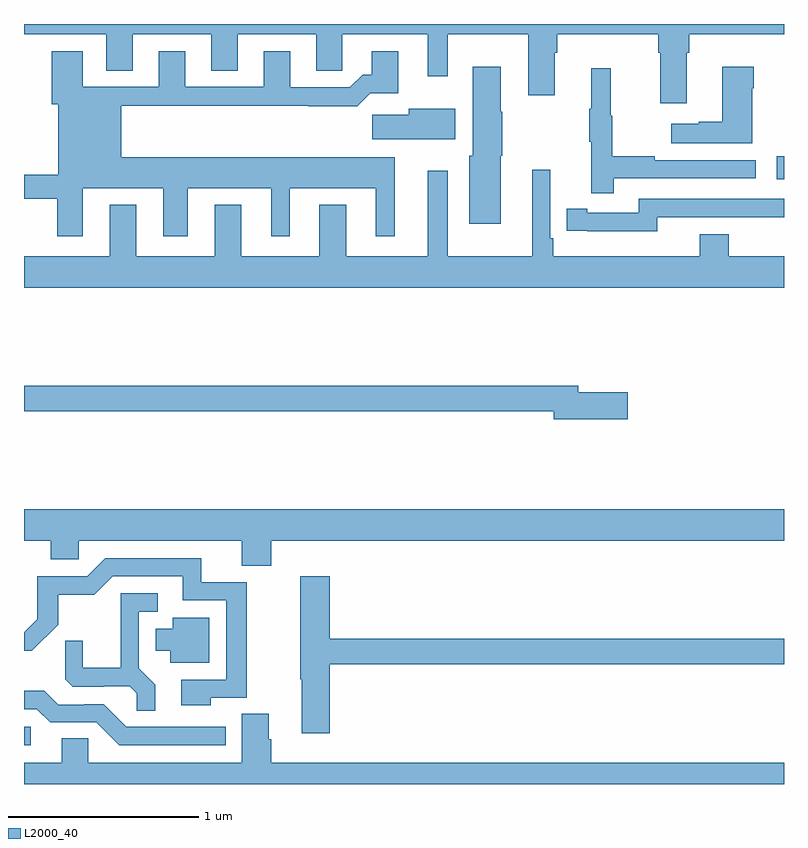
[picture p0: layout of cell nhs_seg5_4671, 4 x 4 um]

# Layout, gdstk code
import gdstk
lib = gdstk.Library(unit=1e-6, precision=1e-09)
def R(c, l, rs):  # rectangles x0, y0, x1, y1
    for r in rs: c.add(gdstk.rectangle(r[:2], r[2:], *l))
def P(c, l, *ps):  # polygons
    for p in ps: c.add(gdstk.Polygon(p, *l))
L2000_40 = (2000, 40)

nhs_seg5_4671 = lib.new_cell('nhs_seg5_4671')
R(nhs_seg5_4671, L2000_40, [(385,869.004,385.036,869.1), (388.962,871.983,389,872.103)])
P(nhs_seg5_4671, L2000_40, [(388.489,872.648),(388.502,872.648),(388.502,872.744),(389,872.744),(389,872.799),(385,872.799),(385,872.744),(385.433,872.744),(385.433,872.554),(385.573,872.554),(385.573,872.744),(385.985,872.744),(385.985,872.554),(386.125,872.554),(386.125,872.744),(386.537,872.744),(386.537,872.554),(386.676,872.554),(386.676,872.744),(387.125,872.744),(387.125,872.523),(387.229,872.523),(387.229,872.744),(387.653,872.744),(387.653,872.424),(387.793,872.424),(387.793,872.648),(387.806,872.648),(387.806,872.744),(388.337,872.744),(388.337,872.648),(388.349,872.648),(388.349,872.382),(388.489,872.382)],
  [(385.309,871.934),(385.733,871.934),(385.733,871.683),(385.861,871.683),(385.861,871.934),(386.3,871.934),(386.3,871.683),(386.398,871.683),(386.398,871.934),(386.852,871.934),(386.852,871.683),(386.95,871.683),(386.95,872.098),(385.513,872.098),(385.513,872.368),(386.497,872.368),(386.497,872.366),(386.753,872.366),(386.822,872.435),(386.971,872.435),(386.971,872.656),(386.831,872.656),(386.831,872.533),(386.782,872.533),(386.715,872.466),(386.401,872.466),(386.401,872.656),(386.261,872.656),(386.261,872.469),(385.849,872.469),(385.849,872.656),(385.709,872.656),(385.709,872.469),(385.309,872.469),(385.309,872.656),(385.145,872.656),(385.145,872.376),(385.181,872.376),(385.181,872.006),(385,872.006),(385,871.878),(385.174,871.878),(385.174,871.683),(385.309,871.683)],
  [(387.508,872.106),(387.516,872.106),(387.516,872.336),(387.508,872.336),(387.508,872.575),(387.362,872.575),(387.362,872.106),(387.344,872.106),(387.344,871.748),(387.508,871.748)],
  [(388.834,872.462),(388.842,872.462),(388.842,872.575),(388.676,872.575),(388.676,872.285),(388.55,872.285),(388.55,872.275),(388.407,872.275),(388.407,872.171),(388.834,872.171)],
  [(388.103,871.986),(388.852,871.986),(388.852,872.082),(388.319,872.082),(388.319,872.102),(388.096,872.102),(388.096,872.316),(388.088,872.316),(388.088,872.566),(387.986,872.566),(387.986,872.353),(387.975,872.353),(387.975,872.179),(387.986,872.179),(387.986,871.908),(388.103,871.908)],
  [(387.271,872.353),(387.026,872.353),(387.026,872.321),(386.832,872.321),(386.832,872.192),(387.271,872.192)],
  [(389,871.576),(388.709,871.576),(388.709,871.693),(388.556,871.693),(388.556,871.576),(387.785,871.576),(387.785,871.672),(387.771,871.672),(387.771,872.032),(387.674,872.032),(387.674,871.576),(387.229,871.576),(387.229,872.026),(387.125,872.026),(387.125,871.576),(386.695,871.576),(386.695,871.849),(386.555,871.849),(386.555,871.576),(386.143,871.576),(386.143,871.849),(386.003,871.849),(386.003,871.576),(385.591,871.576),(385.591,871.849),(385.451,871.849),(385.451,871.576),(385,871.576),(385,871.412),(389,871.412)],
  [(388.332,871.782),(388.792,871.782),(388.792,871.781),(389,871.781),(389,871.878),(388.236,871.878),(388.236,871.806),(387.964,871.806),(387.964,871.826),(387.856,871.826),(387.856,871.71),(387.964,871.71),(387.964,871.709),(388.332,871.709)],
  [(388.177,870.86),(387.916,870.86),(387.916,870.896),(385,870.896),(385,870.76),(387.788,870.76),(387.788,870.718),(388.177,870.718)],
  [(386.3,870.08),(389,870.08),(389,870.244),(385,870.244),(385,870.08),(385.141,870.08),(385.141,869.982),(385.287,869.982),(385.287,870.08),(386.147,870.08),(386.147,869.947),(386.3,869.947)],
  [(385.983,869.253),(386.173,869.253),(386.173,869.862),(385.934,869.862),(385.934,869.988),(385.428,869.988),(385.332,869.892),(385.071,869.892),(385.071,869.667),(385.002,869.598),(385,869.598),(385,869.501),(385.042,869.501),(385.18,869.638),(385.18,869.794),(385.369,869.794),(385.467,869.892),(385.835,869.892),(385.835,869.766),(386.064,869.766),(386.064,869.349),(385.827,869.349),(385.827,869.213),(385.983,869.213)],
  [(386.609,869.428),(389,869.428),(389,869.564),(386.609,869.564),(386.609,869.893),(386.455,869.893),(386.455,869.351),(386.462,869.351),(386.462,869.067),(386.609,869.067)],
  [(385.691,869.321),(385.605,869.407),(385.605,869.706),(385.705,869.706),(385.705,869.802),(385.508,869.802),(385.508,869.41),(385.31,869.41),(385.31,869.553),(385.216,869.553),(385.216,869.351),(385.257,869.31),(385.422,869.31),(385.422,869.313),(385.556,869.313),(385.593,869.276),(385.593,869.185),(385.691,869.185)],
  [(385.975,869.674),(385.784,869.674),(385.784,869.617),(385.694,869.617),(385.694,869.501),(385.769,869.501),(385.769,869.438),(385.975,869.438)],
  [(386.062,869.1),(385.539,869.1),(385.419,869.22),(385.318,869.22),(385.318,869.217),(385.179,869.217),(385.106,869.29),(385,869.29),(385,869.193),(385.068,869.193),(385.137,869.124),(385.38,869.124),(385.5,869.004),(386.062,869.004)],
  [(386.3,869.034),(386.287,869.034),(386.287,869.168),(386.147,869.168),(386.147,868.912),(385.338,868.912),(385.338,869.039),(385.199,869.039),(385.199,868.912),(385,868.912),(385,868.799),(389,868.799),(389,868.912),(386.3,868.912)])

lib.write_gds('nhs_seg5_4671.gds')
